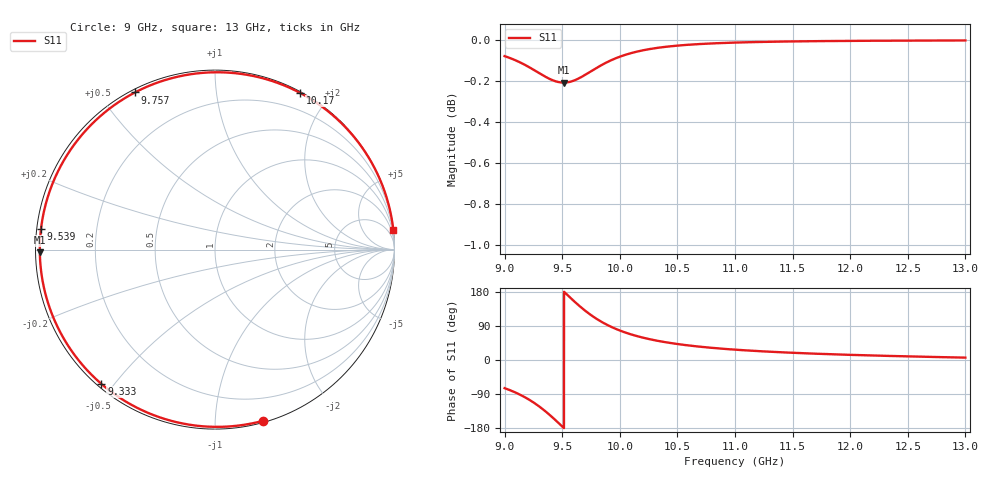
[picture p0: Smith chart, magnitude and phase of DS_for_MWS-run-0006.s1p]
! TOUCHSTONE file generated by CST DESIGN STUDIO
! Date and time: Tue Feb  4 17:11:08 2025
! Project name: C:\Work\MatlabApps\UnitCellOptimizationMatlab\CST\unitcell.cst
! Tree item: Tasks\Sweep1\SPara1\S-Parameters
! Header version: 2024
! Port assignment regex: !\s*Touchstone port\s*([0-9]+)\s*=\s*(CST MWS port|CST DES external port|CST DES block port)\s*(.+)\s* \(\"(.*)\"\)(\s*mode\s*([0-9]+))?.*
! Touchstone port assignment:
! Touchstone port 1 = CST DES external port 1 ("")
# GHz S MA R 50
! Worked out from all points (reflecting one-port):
!   4001 points, 9 GHz to 13 GHz, reference 50 ohm
!   lowest |S11| = -0.2 dB at 9.513 GHz (marker M1), VSWR 82.94, Z = 0.603 - j0.375 ohm
!   phase of S11 starts at -74 deg and turns -279 deg over the sweep
!   S11 on the Smith chart (normalised r, x): 9 GHz: 0.01, -1.32; 9.333 GHz: 0.01, -0.46; 9.539 GHz: 0.01, +0.06; 9.757 GHz: 0.01, +0.61; 10.17 GHz: 0.01, +1.68; 13 GHz: 0, +18
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9  0.9908 -74.3
9.089  0.9886 -85.1
9.193  0.9854 -101.2
9.266  0.9827 -115.2
9.333  0.9801 -130.2
9.378  0.9786 -141.4
9.425  0.9773 -154.0
9.463  0.9765 -164.7
9.5  0.9762 -175.4
9.513  0.9762 -179.1
9.539  0.9763 173.3
9.593  0.9771 157.9
9.653  0.9788 141.7
9.704  0.9806 129.0
9.757  0.9827 117.0
9.808  0.9846 106.8
9.863  0.9865 97.0
10  0.9904 77.8
10.081  0.9921 69.2
10.169  0.9935 61.4
10.32  0.9953 51.1
10.5  0.9966 42.2
10.722  0.9976 34.3
11  0.9983 27.3
11.5  0.9989 19.0
12  0.9992 13.6
12.5  0.9994 9.5
13  0.9995 6.3
